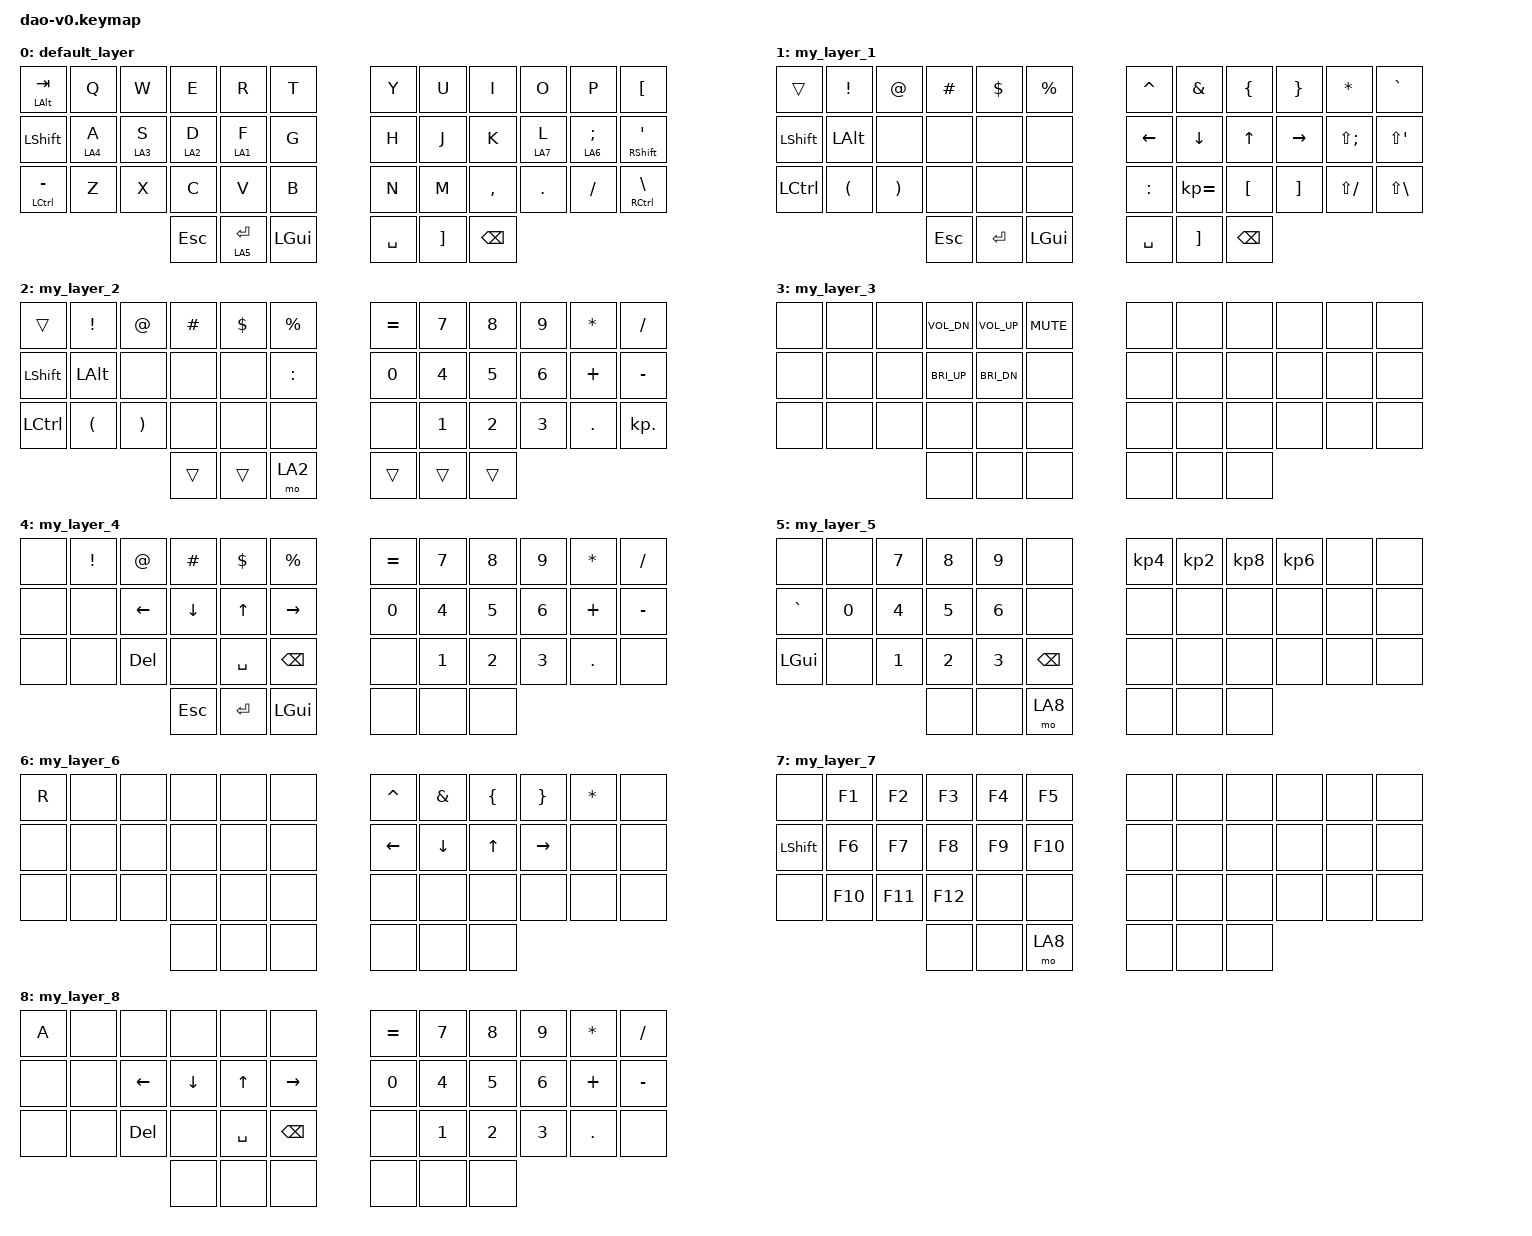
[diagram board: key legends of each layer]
/*
 * Copyright (c) 2021 Rafael Yumagulov
 *
 * SPDX-License-Identifier: MIT
 * TODO: Клики мыши не сработали почему то - &mkp LCLK   &mkp RCLK  . Похоже просто надо include нужный добавить
 */

#include <behaviors.dtsi>
#include <dt-bindings/zmk/keys.h>
#include <dt-bindings/zmk/bt.h>

#define DEF 0
#define LA1 1
#define LA2 2
#define LA3 3
#define LA4 4
#define LA5 5
#define LA6 6
#define LA7 7
#define LA8 8

&lt { quick_tap_ms = <200>; };
&mt { quick_tap_ms = <200>; };

/ {
    chosen {
        zmk,matrix_transform = &default_transform;
        // zmk,matrix_transform = &extra_keys_transform;
    };
};

/ {
        keymap {
                compatible = "zmk,keymap";

                default_layer {
                        /** Добавил CTRL, SHFT, ALT на правую сторону.  */
                        /** Эксперимент с &mt LALT TAB.  */
                        bindings = <
          &mt LALT TAB       &kp Q        &kp W        &kp E        &kp R        &kp T         &kp Y   &kp U    &kp I        &kp O        &kp P           &kp LBKT
          &kp LSHFT          &lt LA4 A    &lt LA3 S    &lt LA2 D    &lt LA1 F    &kp G         &kp H   &kp J    &kp K        &lt LA7 L    &lt LA6 SEMI    &mt RSHFT SQT
          &mt LCTRL MINUS    &kp Z        &kp X        &kp C        &kp V        &kp B         &kp N   &kp M    &kp COMMA    &kp DOT      &kp FSLH        &mt RCTRL BSLH
                                                   &kp ESC   &lt LA5 ENTER   &kp LGUI               &kp SPACE   &kp RIGHT_BRACKET    &kp BSPC
                        >;
                };
                my_layer_1 {
                        /** Чтобы LSHFT и LALT были рядом. Часто надо прыгать по словам (это ALT) и выделять слова (это SHTF+ALT) */
                        /** kp LS(SEMI)   &kp LS(SQT) - и ниже - чтобы было так же как на default слое с Shift. То есть, не важно, зажата ли А или Shift */
                        bindings = <
          &trans      &kp EXCL  &kp AT      &kp HASH    &kp DLLR    &kp PRCNT        &kp CARET     &kp AMPS       &kp LBRC    &kp RBRC    &kp ASTRK      &kp GRAVE
          &kp LSHFT   &kp LALT  &none       &none       &none       &none            &kp LEFT      &kp DOWN       &kp UP      &kp RIGHT   &kp LS(SEMI)   &kp LS(SQT)
          &kp LCTRL   &kp LPAR  &kp RPAR    &none       &none       &none            &kp COLON     &kp KP_EQUAL   &kp LBKT    &kp RBKT    &kp LS(FSLH)   &kp LS(BSLH)
                                               &kp ESC   &kp ENTER     &kp LGUI            &kp SPACE    &kp RIGHT_BRACKET     &kp BSPC
                        >;
                };

                my_layer_2 {
                        /** Находится на клавише D. Поэтому до &kp DLLR точно нелья дотянуться. Как и на нижнюю. Но остальные клавиши норм */
                        /** LSHFT оставил, если случайно зажал D, а хотел F  */
                        /** &kp PRCNT и &kp COLON - для легково указания времени (20:00) для рус и англ */
                        /** &kp DOT и &kp KP_DOT - для легково точек для рус и англ  */
                        bindings = <
          &trans      &kp EXCL   &kp AT     &kp HASH  &kp DLLR    &kp PRCNT           &kp EQUAL   &kp N7   &kp N8   &kp N9   &kp STAR     &kp SLASH
          &kp LSHFT   &kp LALT   &none      &none     &none       &kp COLON           &kp N0      &kp N4   &kp N5   &kp N6   &kp PLUS     &kp MINUS
          &kp LCTRL   &kp LPAR   &kp RPAR   &none     &none       &none               &none       &kp N1   &kp N2   &kp N3   &kp DOT      &kp KP_DOT
                                               &trans      &trans    &mo LA2          &trans    &trans     &trans
                        >;
                };
                my_layer_3 {
                        /** Слой только для громкости и яркости  */
                        bindings = <
        &none    &none   &none   &kp C_VOL_DN   &kp C_VOL_UP   &kp C_MUTE             &none   &none   &none   &none   &none   &none
        &none    &none   &none   &kp C_BRI_UP   &kp C_BRI_DN   &none                  &none   &none   &none   &none   &none   &none
        &none    &none   &none   &none          &none          &none                  &none   &none   &none   &none   &none   &none
                                   &none   &none   &none         &none   &none   &none
                        >;
                };
                my_layer_4 {
                        /** Дубликат 8го слоя */
                        bindings = <
        &none    &kp EXCL   &kp AT     &kp HASH   &kp DLLR   &kp PRCNT            &kp EQUAL   &kp N7   &kp N8   &kp N9   &kp STAR     &kp SLASH
        &none    &none      &kp LEFT   &kp DOWN   &kp UP     &kp RIGHT            &kp N0      &kp N4   &kp N5   &kp N6   &kp PLUS     &kp MINUS
        &none    &none      &kp DEL    &none      &kp SPACE  &kp BSPC             &none       &kp N1   &kp N2   &kp N3   &kp DOT      &none
                                       &kp ESC   &kp ENTER     &kp LGUI         &none   &none   &none
                        >;
                };
                my_layer_5 {
                        /** Тут есть переход на LA8 */
                        /** Для управления курсором мыши - &kp KP_N4   &kp KP_N2   &kp KP_N8   &kp KP_N6 */
                        /** Надо еще посмотреть совет из чата */
                        bindings = <
        &none       &none   &kp N7   &kp N8   &kp N9   &none                &kp KP_N4   &kp KP_N2   &kp KP_N8   &kp KP_N6   &none       &none
        &kp GRAVE   &kp N0  &kp N4   &kp N5   &kp N6   &none                &none       &none       &none       &none       &none       &none
        &kp LGUI    &none   &kp N1   &kp N2   &kp N3   &kp BSPC             &none       &none       &none       &none       &none       &none
                                    &none   &none   &mo LA8         &none   &none   &none
                        >;
                };
                my_layer_6 {
                        /** Это просто для управления стрелками правой рукой */
                        bindings = <
        &kp R    &none   &none   &none   &none   &none                &kp CARET     &kp AMPS     &kp LBRC    &kp RBRC    &kp ASTRK   &none
        &none    &none   &none   &none   &none   &none                &kp LEFT      &kp DOWN     &kp UP      &kp RIGHT   &none       &none
        &none    &none   &none   &none   &none   &none                &none         &none        &none       &none       &none       &none
                        &none   &none   &none         &none   &none   &none
                        >;
                };
                my_layer_7 {
                        /** Тут важен LSHFT. Например на нажатие Shift + F6 */
                        bindings = <
        &none       &kp F1  &kp F2   &kp F3    &kp F4  &kp F5               &none   &none   &none   &none   &none   &none
        &kp LSHFT   &kp F6  &kp F7   &kp F8    &kp F9  &kp F10              &none   &none   &none   &none   &none   &none
        &none       &kp F10 &kp F11  &kp F12   &none   &none                &none   &none   &none   &none   &none   &none
                                     &none   &none   &mo LA8         &none   &none   &none
                        >;
                };
                my_layer_8 {
                        /** Ну тут типа, чтобы цифры и стрелки были **/
                        /** Дубликат 4го слоя */
                        bindings = <
        &kp A    &none   &none      &none      &none       &none              &kp EQUAL   &kp N7   &kp N8   &kp N9   &kp STAR     &kp SLASH
        &none    &none   &kp LEFT   &kp DOWN   &kp UP      &kp RIGHT          &kp N0      &kp N4   &kp N5   &kp N6   &kp PLUS     &kp MINUS
        &none    &none   &kp DEL    &none      &kp SPACE   &kp BSPC           &none       &kp N1   &kp N2   &kp N3   &kp DOT      &none
                                           &none   &none   &none         &none   &none   &none
                        >;
                };
        };
};
